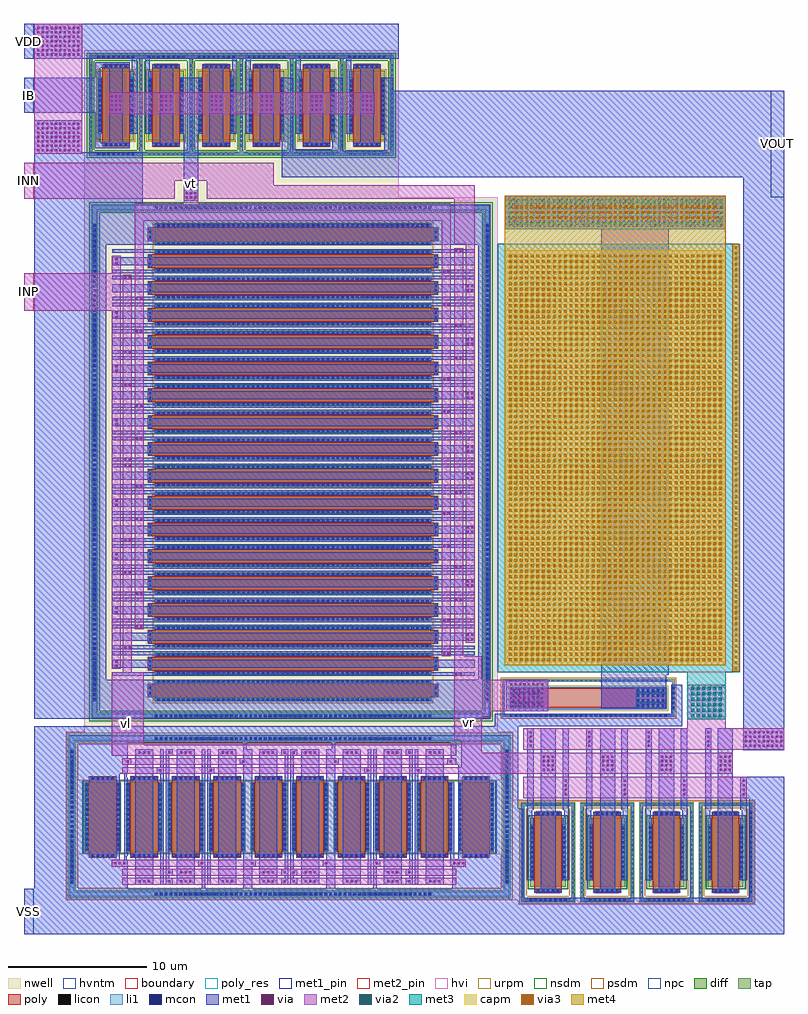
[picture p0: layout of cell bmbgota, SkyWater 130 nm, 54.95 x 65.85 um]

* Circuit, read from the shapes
.subckt bmbgota IB INN INP VDD VOUT VSS vl vr vt
XM1 VSS VSS VSS VSS sky130_fd_pr__nfet_g5v0d10v5 w=5 l=2 m=2
XM2 vr vl VSS VSS sky130_fd_pr__nfet_g5v0d10v5 w=5 l=2 m=4
XM3 VSS vl vl VSS sky130_fd_pr__nfet_g5v0d10v5 w=5 l=2 m=4
XM4 VSS vr VOUT VSS sky130_fd_pr__nfet_g5v0d10v5 w=5 l=2 m=4
XM5 VDD IB IB VDD sky130_fd_pr__pfet_g5v0d10v5 w=5 l=2
XM6 vt IB VDD VDD sky130_fd_pr__pfet_g5v0d10v5 w=5 l=2 m=2
XM7 VDD VDD VDD VDD sky130_fd_pr__pfet_g5v0d10v5 w=20 l=1 m=2
XM8 vt INP vr VDD sky130_fd_pr__pfet_g5v0d10v5 w=20 l=1 m=8
XM9 vt INN vl VDD sky130_fd_pr__pfet_g5v0d10v5 w=20 l=1 m=8
XM10 VOUT IB VDD VDD sky130_fd_pr__pfet_g5v0d10v5 w=5 l=2 m=3
XC11 n1 VOUT sky130_fd_pr__cap_mim_m3_1 w=16 l=30
XR12 n1 vr VSS sky130_fd_pr__res_xhigh_po w=1.41 l=6.88
.ends

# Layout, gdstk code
from math import pi, radians
import gdstk
lib = gdstk.Library(unit=1e-6, precision=1e-09)
def R(c, l, rs):  # rectangles x0, y0, x1, y1
    for r in rs: c.add(gdstk.rectangle(r[:2], r[2:], *l))
def A(c, l, x, y, w, h, nx, ny, dx, dy):  # array of equal rectangles
    R(c, l, [(x+i*dx, y+j*dy, x+i*dx+w, y+j*dy+h) for i in range(nx) for j in range(ny)])
nwell = (64, 20)
diff = (65, 20)
tap = (65, 44)
poly_res = (66, 13)
poly = (66, 20)
licon = (66, 44)
li1 = (67, 20)
mcon = (67, 44)
met1_pin = (68, 16)
met1 = (68, 20)
via = (68, 44)
met2_pin = (69, 16)
met2 = (69, 20)
via2 = (69, 44)
met3 = (70, 20)
via3 = (70, 44)
met4 = (71, 20)
hvi = (75, 20)
urpm = (79, 20)
capm = (89, 44)
nsdm = (93, 44)
psdm = (94, 20)
npc = (95, 20)
hvntm = (125, 20)
boundary = (235, 4)

sky130_fd_pr__nfet_g5v0d = lib.new_cell('sky130_fd_pr__nfet_g5v0d10v5_DP5JSB')
R(sky130_fd_pr__nfet_g5v0d, diff, [(-1.29,-2.5,1.29,2.5)])
R(sky130_fd_pr__nfet_g5v0d, poly, [(-1,-2.94,1,2.94)])
A(sky130_fd_pr__nfet_g5v0d, licon, -0.765, -2.86, 0.17, 0.17, 5, 2, 0.34, 5.55)
A(sky130_fd_pr__nfet_g5v0d, licon, -1.23, -2.295, 0.17, 0.17, 1, 14, 0, 0.34)
A(sky130_fd_pr__nfet_g5v0d, licon, 1.06, -2.295, 0.17, 0.17, 1, 14, 0, 0.34)
R(sky130_fd_pr__nfet_g5v0d, li1, [(-1,-2.86,1,-2.69), (-1.23,-2.52,-1.06,2.52), (1.06,-2.52,1.23,2.52), (-1,2.69,1,2.86)])
A(sky130_fd_pr__nfet_g5v0d, mcon, -0.805, -2.86, 0.17, 0.17, 5, 2, 0.36, 5.55)
A(sky130_fd_pr__nfet_g5v0d, mcon, -1.23, -2.425, 0.17, 0.17, 1, 14, 0, 0.36)
A(sky130_fd_pr__nfet_g5v0d, mcon, 1.06, -2.425, 0.17, 0.17, 1, 14, 0, 0.36)
R(sky130_fd_pr__nfet_g5v0d, met1, [(-0.98,-2.89,0.98,-2.66), (-1.26,-2.5,-1.03,2.5), (1.03,-2.5,1.26,2.5), (-0.98,2.66,0.98,2.89)])
R(sky130_fd_pr__nfet_g5v0d, hvi, [(-1.475,-2.685,1.475,2.685)])
R(sky130_fd_pr__nfet_g5v0d, nsdm, [(-1.415,-2.625,1.415,2.625)])
R(sky130_fd_pr__nfet_g5v0d, npc, [(-0.865,-2.96,0.865,-2.59), (-0.865,2.59,0.865,2.96)])
R(sky130_fd_pr__nfet_g5v0d, hvntm, [(-1.475,-2.685,1.475,2.685)])

sky130_fd_pr__pfet_g5v0d = lib.new_cell('sky130_fd_pr__pfet_g5v0d10v5_WL3UED')
R(sky130_fd_pr__pfet_g5v0d, nwell, [(-0.97,-10.5,0.97,10.5)])
R(sky130_fd_pr__pfet_g5v0d, diff, [(-0.79,-10,0.79,10)])
R(sky130_fd_pr__pfet_g5v0d, poly, [(-0.5,-10.485,0.5,10.485)])
A(sky130_fd_pr__pfet_g5v0d, licon, -0.73, -9.775, 0.17, 0.17, 1, 58, 0, 0.34)
A(sky130_fd_pr__pfet_g5v0d, licon, 0.56, -9.775, 0.17, 0.17, 1, 58, 0, 0.34)
R(sky130_fd_pr__pfet_g5v0d, licon, [(-0.255,-10.405,-0.085,-10.235), (0.085,-10.405,0.255,-10.235), (-0.255,10.235,-0.085,10.405), (0.085,10.235,0.255,10.405)])
R(sky130_fd_pr__pfet_g5v0d, li1, [(-0.5,-10.405,0.5,-10.235), (-0.73,-10.02,-0.56,10.02), (0.56,-10.02,0.73,10.02), (-0.5,10.235,0.5,10.405)])
A(sky130_fd_pr__pfet_g5v0d, mcon, -0.73, -9.805, 0.17, 0.17, 1, 55, 0, 0.36)
A(sky130_fd_pr__pfet_g5v0d, mcon, 0.56, -9.805, 0.17, 0.17, 1, 55, 0, 0.36)
R(sky130_fd_pr__pfet_g5v0d, mcon, [(-0.265,-10.405,-0.095,-10.235), (0.095,-10.405,0.265,-10.235), (-0.265,10.235,-0.095,10.405), (0.095,10.235,0.265,10.405)])
R(sky130_fd_pr__pfet_g5v0d, met1, [(-0.48,-10.435,0.48,-10.205), (-0.76,-10,-0.53,10), (0.53,-10,0.76,10), (-0.48,10.205,0.48,10.435)])
R(sky130_fd_pr__pfet_g5v0d, hvi, [(-0.97,-10.5,0.97,-10.185), (-0.975,-10.185,0.975,10.185), (-0.97,10.185,0.97,10.5)])
R(sky130_fd_pr__pfet_g5v0d, psdm, [(-0.915,-10.125,0.915,10.125)])
R(sky130_fd_pr__pfet_g5v0d, npc, [(-0.355,-10.505,0.355,-10.135), (-0.355,10.135,0.355,10.505)])

c_sky130_fd_pr__pfet_g5v0d = lib.new_cell('sky130_fd_pr__pfet_g5v0d10v5_JNK3YL')
R(c_sky130_fd_pr__pfet_g5v0d, nwell, [(-2.29,-3.985,2.29,3.985)])
R(c_sky130_fd_pr__pfet_g5v0d, diff, [(-1.29,-2.5,1.29,2.5)])
R(c_sky130_fd_pr__pfet_g5v0d, tap, [(-1.96,-3.655,1.96,-3.365), (-1.96,-3.365,-1.67,3.365), (1.67,-3.365,1.96,3.365), (-1.96,3.365,1.96,3.655)])
R(c_sky130_fd_pr__pfet_g5v0d, poly, [(-1,-2.985,1,2.985)])
A(c_sky130_fd_pr__pfet_g5v0d, licon, -1.275, -3.595, 0.17, 0.17, 8, 2, 0.34, 7.02)
A(c_sky130_fd_pr__pfet_g5v0d, licon, -1.9, -2.975, 0.17, 0.17, 1, 18, 0, 0.34)
A(c_sky130_fd_pr__pfet_g5v0d, licon, 1.73, -2.975, 0.17, 0.17, 1, 18, 0, 0.34)
A(c_sky130_fd_pr__pfet_g5v0d, licon, -0.765, -2.905, 0.17, 0.17, 5, 2, 0.34, 5.64)
A(c_sky130_fd_pr__pfet_g5v0d, licon, -1.23, -1.785, 0.17, 0.17, 1, 11, 0, 0.34)
A(c_sky130_fd_pr__pfet_g5v0d, licon, 1.06, -1.785, 0.17, 0.17, 1, 11, 0, 0.34)
R(c_sky130_fd_pr__pfet_g5v0d, li1, [(-1.9,-3.595,1.9,-3.425), (-1.9,-3.425,-1.73,3.425), (1.73,-3.425,1.9,3.425), (-1,-2.905,1,-2.735), (-1.23,-2.03,-1.06,2.03), (1.06,-2.03,1.23,2.03), (-1,2.735,1,2.905), (-1.9,3.425,1.9,3.595)])
A(c_sky130_fd_pr__pfet_g5v0d, mcon, -0.805, -2.905, 0.17, 0.17, 5, 2, 0.36, 5.64)
A(c_sky130_fd_pr__pfet_g5v0d, mcon, -1.23, -1.885, 0.17, 0.17, 1, 11, 0, 0.36)
A(c_sky130_fd_pr__pfet_g5v0d, mcon, 1.06, -1.885, 0.17, 0.17, 1, 11, 0, 0.36)
R(c_sky130_fd_pr__pfet_g5v0d, met1, [(-0.98,-2.935,0.98,-2.705), (-1.26,-2.01,-1.03,2.01), (1.03,-2.01,1.26,2.01), (-0.98,2.705,0.98,2.935)])
R(c_sky130_fd_pr__pfet_g5v0d, hvi, [(-2.29,-3.985,2.29,3.985)])
R(c_sky130_fd_pr__pfet_g5v0d, nsdm, [(-2.085,-3.78,2.085,-3.24), (-2.085,-3.24,-1.545,3.24), (1.545,-3.24,2.085,3.24), (-2.085,3.24,2.085,3.78)])
R(c_sky130_fd_pr__pfet_g5v0d, psdm, [(-1.415,-2.625,1.415,2.625)])
R(c_sky130_fd_pr__pfet_g5v0d, npc, [(-0.865,-3.005,0.865,-2.635), (-0.865,2.635,0.865,3.005)])
R(c_sky130_fd_pr__pfet_g5v0d, boundary, [(-1.815,-3.51,1.815,3.51)])

sky130_fd_pr__cap_mim_m3 = lib.new_cell('sky130_fd_pr__cap_mim_m3_1_5WMUWD')
R(sky130_fd_pr__cap_mim_m3, met3, [(-8.75,-15.5,8.745,15.5)])
A(sky130_fd_pr__cap_mim_m3, via3, 8.385, -15.3, 0.2, 0.2, 1, 77, 0, 0.4)
A(sky130_fd_pr__cap_mim_m3, via3, -7.95, -14.7, 0.2, 0.2, 39, 74, 0.4, 0.4)
R(sky130_fd_pr__cap_mim_m3, met4, [(8.245,-15.44,8.725,15.44), (-8.055,-14.805,7.555,14.805)])
R(sky130_fd_pr__cap_mim_m3, capm, [(-8.25,-15,7.75,15)])
R(sky130_fd_pr__cap_mim_m3, boundary, [(-8.75,-15.5,8.25,15.5)])

c_sky130_fd_pr__nfet_g5v0d = lib.new_cell('sky130_fd_pr__nfet_g5v0d10v5_RQRC42')
R(c_sky130_fd_pr__nfet_g5v0d, diff, [(-1.29,-2.5,1.29,2.5)])
R(c_sky130_fd_pr__nfet_g5v0d, tap, [(-1.96,-3.61,1.96,-3.32), (-1.96,-3.32,-1.67,3.32), (1.67,-3.32,1.96,3.32), (-1.96,3.32,1.96,3.61)])
R(c_sky130_fd_pr__nfet_g5v0d, poly, [(-1,-2.94,1,2.94)])
A(c_sky130_fd_pr__nfet_g5v0d, licon, -1.275, -3.55, 0.17, 0.17, 8, 2, 0.34, 6.93)
A(c_sky130_fd_pr__nfet_g5v0d, licon, -1.9, -2.975, 0.17, 0.17, 1, 18, 0, 0.34)
A(c_sky130_fd_pr__nfet_g5v0d, licon, 1.73, -2.975, 0.17, 0.17, 1, 18, 0, 0.34)
A(c_sky130_fd_pr__nfet_g5v0d, licon, -0.765, -2.86, 0.17, 0.17, 5, 2, 0.34, 5.55)
A(c_sky130_fd_pr__nfet_g5v0d, licon, -1.23, -1.785, 0.17, 0.17, 1, 11, 0, 0.34)
A(c_sky130_fd_pr__nfet_g5v0d, licon, 1.06, -1.785, 0.17, 0.17, 1, 11, 0, 0.34)
R(c_sky130_fd_pr__nfet_g5v0d, li1, [(-1.9,-3.55,1.9,-3.38), (-1.9,-3.38,-1.73,3.38), (1.73,-3.38,1.9,3.38), (-1,-2.86,1,-2.69), (-1.23,-2.03,-1.06,2.03), (1.06,-2.03,1.23,2.03), (-1,2.69,1,2.86), (-1.9,3.38,1.9,3.55)])
A(c_sky130_fd_pr__nfet_g5v0d, mcon, -0.805, -2.86, 0.17, 0.17, 5, 2, 0.36, 5.55)
A(c_sky130_fd_pr__nfet_g5v0d, mcon, -1.23, -1.885, 0.17, 0.17, 1, 11, 0, 0.36)
A(c_sky130_fd_pr__nfet_g5v0d, mcon, 1.06, -1.885, 0.17, 0.17, 1, 11, 0, 0.36)
R(c_sky130_fd_pr__nfet_g5v0d, met1, [(-0.98,-2.89,0.98,-2.66), (-1.26,-2.01,-1.03,2.01), (1.03,-2.01,1.26,2.01), (-0.98,2.66,0.98,2.89)])
R(c_sky130_fd_pr__nfet_g5v0d, hvi, [(-2.145,-3.795,2.145,3.795)])
R(c_sky130_fd_pr__nfet_g5v0d, nsdm, [(-1.415,-2.625,1.415,2.625)])
R(c_sky130_fd_pr__nfet_g5v0d, psdm, [(-2.085,-3.735,2.085,-3.195), (-2.085,-3.195,-1.545,3.195), (1.545,-3.195,2.085,3.195), (-2.085,3.195,2.085,3.735)])
R(c_sky130_fd_pr__nfet_g5v0d, npc, [(-0.865,-2.96,0.865,-2.59), (-0.865,2.59,0.865,2.96)])
R(c_sky130_fd_pr__nfet_g5v0d, hvntm, [(-1.475,-2.685,1.475,2.685)])
R(c_sky130_fd_pr__nfet_g5v0d, boundary, [(-1.81,-3.46,1.81,3.46)])

sky130_fd_pr__res_xhigh_ = lib.new_cell('sky130_fd_pr__res_xhigh_po_1p41_P8QAYG')
R(sky130_fd_pr__res_xhigh_, tap, [(-1.355,-6.23,1.355,-6.06), (-1.355,-6.06,-1.185,6.06), (1.185,-6.06,1.355,6.06), (-1.355,6.06,1.355,6.23)])
R(sky130_fd_pr__res_xhigh_, poly_res, [(-0.705,-3.5,0.705,3.5)])
R(sky130_fd_pr__res_xhigh_, poly, [(-0.705,-5.58,0.705,5.58)])
A(sky130_fd_pr__res_xhigh_, licon, -0.765, -6.23, 0.17, 0.17, 5, 2, 0.34, 12.29)
A(sky130_fd_pr__res_xhigh_, licon, -1.355, -5.695, 0.17, 0.17, 1, 34, 0, 0.34)
A(sky130_fd_pr__res_xhigh_, licon, 1.185, -5.695, 0.17, 0.17, 1, 34, 0, 0.34)
R(sky130_fd_pr__res_xhigh_, licon, [(-0.45,-5.5,-0.26,-3.5), (0.26,-5.5,0.45,-3.5), (-0.45,3.5,-0.26,5.5), (0.26,3.5,0.45,5.5)])
R(sky130_fd_pr__res_xhigh_, li1, [(-1.355,-6.23,1.355,-6.06), (-1.355,-6.06,-1.185,6.06), (1.185,-6.06,1.355,6.06), (-0.705,-5.58,0.705,-3.42), (-0.705,3.42,0.705,5.58), (-1.355,6.06,1.355,6.23)])
A(sky130_fd_pr__res_xhigh_, mcon, -0.625, -5.485, 0.17, 0.17, 4, 6, 0.36, 0.36)
A(sky130_fd_pr__res_xhigh_, mcon, -0.625, 3.51, 0.17, 0.17, 4, 6, 0.36, 0.36)
R(sky130_fd_pr__res_xhigh_, met1, [(-0.655,-5.55,0.655,-3.445), (-0.655,3.445,0.655,5.55)])
R(sky130_fd_pr__res_xhigh_, urpm, [(-0.905,-5.78,0.905,5.78)])
R(sky130_fd_pr__res_xhigh_, psdm, [(-1.48,-6.355,1.48,6.355)])
R(sky130_fd_pr__res_xhigh_, npc, [(-0.8,-5.675,0.8,5.675)])
R(sky130_fd_pr__res_xhigh_, boundary, [(-1.27,-6.145,1.27,6.145)])

bmbgota = lib.new_cell('bmbgota')
R(bmbgota, nwell, [(-4.75,-32.5,25.15,5.75), (-4.75,5.75,18,9.2)])
R(bmbgota, tap, [(-5.9,-44.9,26.1,-44.35), (-5.9,-44.35,-5.35,-33.65), (25.55,-44.35,26.1,-33.65), (-5.9,-33.65,26.1,-33.1), (-4.25,-32,24.65,-31.5), (-4.25,-31.5,-3.75,4.75), (24.15,-31.5,24.65,4.75), (-4.25,4.75,24.65,5.25)])
A(bmbgota, licon, 0.405, -44.71, 0.17, 0.17, 59, 2, 0.34, 11.25)
A(bmbgota, licon, -5.71, -43.895, 0.17, 0.17, 1, 29, 0, 0.34)
A(bmbgota, licon, 25.74, -43.895, 0.17, 0.17, 1, 29, 0, 0.34)
A(bmbgota, licon, 0.405, -31.835, 0.17, 0.17, 59, 2, 0.34, 36.75)
A(bmbgota, licon, -4.085, -30.68, 0.17, 0.17, 1, 102, 0, 0.34)
A(bmbgota, licon, 24.315, -30.68, 0.17, 0.17, 1, 102, 0, 0.34)
A(bmbgota, li1, 27.37, -45.16, 2.84, 0.17, 4, 1, 4.28, 0)
A(bmbgota, li1, -3.88, 15.81, 2.84, 0.17, 6, 1, 3.63, 0)
R(bmbgota, li1, [(-5.8,-44.8,26,-44.45), (43.36,-44.68,43.53,-38.54), (-5.8,-44.45,-5.45,-33.55), (25.65,-44.45,26,-33.55), (-5.8,-33.55,26,-33.2), (-4.15,-31.9,24.55,-31.6), (25.96,-31.82,37.46,-31.65), (-4.15,-31.6,-3.85,4.85), (24.25,-31.6,24.55,4.85), (37.77,-31.34,37.94,-29.59), (-4.15,4.85,24.55,5.15), (-3.88,8.79,-1.04,8.96)])
A(bmbgota, mcon, 27.445, -45.16, 0.17, 0.17, 8, 1, 0.36, 0)
A(bmbgota, mcon, 31.725, -45.16, 0.17, 0.17, 8, 1, 0.36, 0)
A(bmbgota, mcon, 36.005, -45.16, 0.17, 0.17, 8, 1, 0.36, 0)
A(bmbgota, mcon, 40.285, -45.16, 0.17, 0.17, 8, 1, 0.36, 0)
A(bmbgota, mcon, 0.365, -44.71, 0.17, 0.17, 56, 2, 0.36, 11.25)
A(bmbgota, mcon, 43.36, -44.575, 0.17, 0.17, 1, 17, 0, 0.36)
A(bmbgota, mcon, -5.71, -43.815, 0.17, 0.17, 1, 27, 0, 0.36)
A(bmbgota, mcon, 25.74, -43.815, 0.17, 0.17, 1, 27, 0, 0.36)
A(bmbgota, mcon, 0.365, -31.835, 0.17, 0.17, 56, 2, 0.36, 36.75)
A(bmbgota, mcon, 26.045, -31.82, 0.17, 0.17, 32, 1, 0.36, 0)
A(bmbgota, mcon, 37.77, -31.27, 0.17, 0.17, 1, 5, 0, 0.36)
A(bmbgota, mcon, -4.085, -30.61, 0.17, 0.17, 1, 96, 0, 0.36)
A(bmbgota, mcon, 24.315, -30.61, 0.17, 0.17, 1, 96, 0, 0.36)
A(bmbgota, mcon, -3.805, 8.79, 0.17, 0.17, 8, 2, 0.36, 7.02)
A(bmbgota, mcon, -0.175, 15.81, 0.17, 0.17, 8, 1, 0.36, 0)
A(bmbgota, mcon, 3.455, 15.81, 0.17, 0.17, 8, 1, 0.36, 0)
A(bmbgota, mcon, 7.085, 15.81, 0.17, 0.17, 8, 1, 0.36, 0)
A(bmbgota, mcon, 10.715, 15.81, 0.17, 0.17, 8, 1, 0.36, 0)
A(bmbgota, mcon, 14.345, 15.81, 0.17, 0.17, 8, 1, 0.36, 0)
R(bmbgota, met1_pin, [(-9.1,-47.55,-8.4,-44.25), (44.9,5.75,45.85,13.45), (-9.1,11.85,-8.4,14.4), (-9.1,15.75,-8.4,18.3)])
A(bmbgota, met1, 32.55, -44.5, 1.1, 11.85, 3, 1, 4.25, 0)
A(bmbgota, met1, -1.05, -43.95, 1.3, 9.8, 3, 1, 3, 0)
A(bmbgota, met1, -2.735, -28.275, 26.21, 0.585, 1, 4, 0, 3.88)
A(bmbgota, met1, -0.085, -27.69, 20.87, 0.005, 1, 15, 0, 1.94)
A(bmbgota, met1, -2.73, -26.335, 26.205, 0.585, 1, 4, 0, 3.88)
A(bmbgota, met1, -2.73, -12.755, 26.205, 0.585, 1, 4, 0, 3.88)
A(bmbgota, met1, -2.735, -10.815, 26.21, 0.585, 1, 3, 0, 3.88)
R(bmbgota, met1, [(-9.1,-47.55,45.85,-44.9), (-9.1,-44.9,27,-44.25), (43.35,-44.9,45.85,-44.735), (43.325,-44.735,45.85,-38.51), (28.25,-44.5,29.35,-32.65), (-8.35,-44.25,-1.6,-42.15), (3.75,-44.25,4,-42.65), (6.75,-44.25,7.4,-42.65), (12.75,-44.25,13.4,-42.65), (16.15,-44.25,16.4,-42.65), (21.85,-44.25,27,-42.65), (0.75,-43.95,1,-41.55), (1.15,-43.95,1.65,-43.45), (4.15,-43.95,4.4,-41.55), (7.9,-43.95,9.2,-34.15), (9.5,-43.95,10,-43.45), (10.15,-43.95,10.65,-43.45), (10.95,-43.95,12.25,-34.15), (13.95,-43.95,15.25,-34.15), (15.75,-43.95,16,-41.55), (16.9,-43.95,18.2,-34.15), (18.5,-43.95,19,-43.45), (19.15,-43.95,19.4,-41.55), (19.95,-43.95,21.25,-34.15), (27.3,-43.65,27.75,-39.1), (29.85,-43.65,30.3,-39.1), (31.55,-43.65,32,-39.1), (34.1,-43.65,34.55,-39.1), (35.85,-43.65,36.3,-39.1), (38.4,-43.65,38.85,-39.1), (40.15,-43.65,40.6,-39.1), (42.7,-43.65,43.15,-39.1), (1.15,-43.45,1.4,-43.3), (9.75,-43.45,10,-43.3), (10.15,-43.45,10.4,-43.3), (18.75,-43.45,19,-43.3), (1.15,-43.3,1.65,-42.8), (9.5,-43.3,10,-42.8), (10.15,-43.3,10.65,-42.8), (18.5,-43.3,19,-42.8), (1.15,-42.8,1.4,-41.55), (9.75,-42.8,10,-41.55), (10.15,-42.8,10.4,-41.55), (18.75,-42.8,19,-41.55), (3.5,-42.65,4,-42.15), (6.75,-42.65,7.65,-42.15), (12.5,-42.65,13.4,-42.15), (16.15,-42.65,16.65,-42.15), (21.715,-42.65,27,-42.125), (-8.35,-42.15,-2.175,-35.95), (-1.85,-42.15,-1.67,-41.87), (3.75,-42.15,4,-41.55), (6.75,-42.15,7.4,-41.55), (12.75,-42.15,13.4,-41.55), (16.15,-42.15,16.4,-41.55), (21.715,-42.125,22.02,-41.56), (22.3,-42.125,27,-38.45), (-1.85,-41.87,-1.6,-41.55), (21.65,-41.56,22.02,-36.55), (-1.85,-41.55,-1.5,-36.55), (0.65,-41.55,1,-36.55), (1.15,-41.55,1.55,-36.55), (3.65,-41.55,4,-36.55), (4.15,-41.55,4.55,-36.55), (6.65,-41.55,7.55,-36.55), (9.65,-41.55,10,-36.55), (10.15,-41.55,10.5,-36.55), (12.65,-41.55,13.5,-36.55), (15.65,-41.55,16,-36.55), (16.15,-41.55,16.55,-36.55), (18.65,-41.55,19,-36.55), (19.15,-41.55,19.55,-36.55), (27.3,-39.1,27.65,-38.55), (29.95,-39.1,30.3,-38.55), (31.55,-39.1,31.9,-38.55), (34.2,-39.1,34.55,-38.55), (35.85,-39.1,36.2,-38.55), (38.5,-39.1,38.85,-38.55), (40.15,-39.1,40.5,-38.55), (42.8,-39.1,43.15,-38.55), (27.3,-38.55,27.75,-32.65), (29.85,-38.55,30.3,-32.65), (31.55,-38.55,32,-32.65), (34.1,-38.55,34.55,-32.65), (35.85,-38.55,36.3,-32.65), (38.4,-38.55,38.85,-32.65), (40.15,-38.55,40.6,-32.65), (42.7,-38.55,43.15,-37.7), (43.35,-38.51,45.85,-37.7), (22.3,-38.45,26.65,-35.3), (42.7,-37.7,45.85,-36.15), (-1.85,-36.55,-1.6,-36.23), (0.75,-36.55,1,-35.95), (1.15,-36.55,1.4,-34.65), (3.75,-36.55,4,-34.15), (4.15,-36.55,4.4,-35.95), (6.75,-36.55,7.4,-35.3), (9.75,-36.55,10,-34.65), (10.15,-36.55,10.4,-34.65), (12.75,-36.55,13.4,-35.3), (15.75,-36.55,16,-35.95), (16.15,-36.55,16.4,-34.15), (18.75,-36.55,19,-34.65), (19.15,-36.55,19.4,-35.95), (-1.85,-36.23,-1.67,-35.95), (-8.35,-35.95,-1.6,-35.3), (0.5,-35.95,1,-35.45), (4.15,-35.95,4.65,-35.45), (15.5,-35.95,16,-35.45), (19.15,-35.95,19.65,-35.45), (0.75,-35.45,1,-34.15), (4.15,-35.45,4.4,-34.15), (15.75,-35.45,16,-34.15), (19.15,-35.45,19.4,-34.15), (-8.35,-35.3,-1.35,-34.8), (6.5,-35.3,7.4,-34.8), (12.75,-35.3,13.65,-34.8), (21.5,-35.3,26.65,-34.8), (-8.35,-34.8,-1.6,-33.7), (6.75,-34.8,7.4,-34.15), (12.75,-34.8,13.4,-34.15), (21.75,-34.8,26.65,-33.7), (1.15,-34.65,1.65,-34.15), (9.5,-34.65,10,-34.15), (10.15,-34.65,10.65,-34.15), (18.5,-34.65,19,-34.15), (42.9,-34.25,45.85,7.2), (6.75,-34.15,7,-33.7), (13.15,-34.15,13.4,-33.7), (-8.35,-33.7,26.65,-32.5), (24.95,-32.5,38.5,-31.6), (-8.35,-31.95,24.6,-29.15), (37.715,-31.6,38.5,-29.485), (25.75,-31.4,28.8,-29.15), (32.65,-31.2,37.34,-28.77), (-8.35,-29.15,-3.15,2.3), (23.75,-29.15,24.6,2.3), (-2.73,-28.865,23.475,-28.605), (32.65,-28.77,37.5,3.45), (-2.73,-28.605,20.35,-28.6), (0.35,-28.6,20.35,-28.51), (0.35,-27.45,20.35,-27.36), (-2.73,-27.36,20.35,-27.355), (-2.73,-27.355,23.475,-27.095), (-2.73,-26.925,23.475,-26.665), (-2.73,-26.665,20.35,-26.66), (0.35,-26.66,20.35,-26.57), (0.35,-25.51,20.35,-25.42), (-2.73,-25.42,20.35,-25.415), (-2.73,-25.415,23.475,-25.155), (-2.73,-24.985,23.475,-24.725), (-2.73,-24.725,20.35,-24.72), (0.35,-24.72,20.35,-24.63), (0.35,-23.57,20.35,-23.48), (-2.73,-23.48,20.35,-23.475), (-2.73,-23.475,23.475,-23.215), (-2.73,-23.045,23.475,-22.785), (-2.73,-22.785,20.35,-22.78), (0.35,-22.78,20.35,-22.69), (0.35,-21.63,20.35,-21.54), (-2.73,-21.54,20.35,-21.535), (-2.73,-21.535,23.475,-21.275), (-2.73,-21.105,23.475,-20.845), (-2.73,-20.845,20.35,-20.84), (0.35,-20.84,20.35,-20.75), (0.35,-19.69,20.35,-19.6), (-2.73,-19.6,20.35,-19.595), (-2.73,-19.595,23.475,-19.335), (-2.73,-19.165,23.475,-18.905), (-2.73,-18.905,20.35,-18.9), (0.35,-18.9,20.35,-18.81), (0.35,-17.75,20.35,-17.66), (-2.73,-17.66,20.35,-17.655), (-2.73,-17.655,23.475,-17.395), (-2.73,-17.225,23.475,-16.965), (-2.73,-16.965,20.35,-16.96), (0.35,-16.96,20.35,-16.87), (0.35,-15.81,20.35,-15.72), (-2.73,-15.72,20.35,-15.715), (-2.73,-15.715,23.475,-15.455), (-2.73,-15.285,23.475,-15.025), (-2.73,-15.025,20.35,-15.02), (0.35,-15.02,20.35,-14.93), (0.35,-13.87,20.35,-13.78), (-2.73,-13.78,20.35,-13.775), (-2.73,-13.775,23.475,-13.515), (-2.73,-13.345,23.475,-13.085), (-2.73,-13.085,20.35,-13.08), (0.35,-13.08,20.35,-12.99), (0.35,-11.93,20.35,-11.84), (-2.73,-11.84,20.35,-11.835), (-2.73,-11.835,23.475,-11.575), (-2.73,-11.405,23.475,-11.145), (-2.73,-11.145,20.35,-11.14), (0.35,-11.14,20.35,-11.05), (0.35,-9.99,20.35,-9.9), (-2.73,-9.9,20.35,-9.895), (-2.73,-9.895,23.475,-9.635), (-2.73,-9.465,23.475,-9.205), (-2.73,-9.205,20.35,-9.2), (0.35,-9.2,20.35,-9.11), (0.35,-8.05,20.35,-7.96), (-2.73,-7.96,20.35,-7.955), (-2.73,-7.955,23.475,-7.695), (-2.73,-7.525,23.475,-7.265), (-2.73,-7.265,20.35,-7.26), (0.35,-7.26,20.35,-7.17), (0.35,-6.11,20.35,-6.02), (-2.73,-6.02,20.35,-6.015), (-2.73,-6.015,23.475,-5.755), (-2.73,-5.585,23.475,-5.325), (-2.73,-5.325,20.35,-5.32), (0.35,-5.32,20.35,-5.23), (0.35,-4.17,20.35,-4.08), (-2.73,-4.08,20.35,-4.075), (-2.73,-4.075,23.475,-3.815), (-2.73,-3.645,23.475,-3.385), (-2.73,-3.385,20.35,-3.38), (0.35,-3.38,20.35,-3.29), (0.35,-2.23,20.35,-2.14), (-2.73,-2.14,20.35,-2.135), (-2.73,-2.135,23.475,-1.875), (-2.73,-1.705,23.475,-1.445), (-2.73,-1.445,20.35,-1.44), (0.35,-1.44,20.35,-1.35), (0.35,-0.28,20.35,-0.19), (-2.73,-0.19,20.35,-0.185), (-2.73,-0.185,23.475,0.075), (-2.73,0.235,23.475,0.495), (-2.73,0.495,20.35,0.5), (0.35,0.5,20.35,0.59), (-0.085,0.825,20.785,0.83), (-2.735,0.83,23.475,1.415), (0.35,1.645,20.35,1.74), (-2.73,1.74,23.475,2), (-8.35,2.3,24.6,5.2), (25.65,3.45,41.65,5.85), (-8.35,5.2,-0.5,9), (2.45,5.5,3.5,10.35), (9.55,7.2,45.85,9.1), (-8.35,9,-4.9,11.3), (9.55,9.1,13.95,9.2), (16.95,9.1,45.85,10.25), (9.55,9.2,10.35,9.9), (13.2,9.2,13.95,9.9), (-3.95,9.29,-1.45,9.7), (0.7,9.5,1.7,15.25), (4.3,9.5,5.3,15.25), (7.95,9.5,8.95,15.25), (11.55,9.5,12.55,15.25), (15.2,9.5,16.2,15.25), (-3.95,9.7,-3.6,10.35), (-2.95,9.7,-1.95,15.1), (9.45,9.9,10.35,14.4), (13.1,9.9,13.95,14.4), (16.75,10.25,45.85,13.45), (-3.95,10.35,-3.5,11.85), (-1.45,10.35,-0.9,14.9), (-0.35,10.35,0.1,14.9), (2.2,10.35,3.75,14.4), (5.85,10.35,6.3,14.9), (6.95,10.35,7.4,14.9), (10.55,10.35,11,14.9), (14.2,10.35,14.65,14.9), (-9.1,11.85,-3.5,14.4), (16.75,13.45,17.6,14.4), (-3.95,14.4,-3.6,15.1), (-1.3,14.9,-0.9,15.75), (-0.35,14.9,0,15.75), (5.95,14.9,6.3,15.75), (6.95,14.9,7.3,15.75), (10.55,14.9,10.9,15.75), (14.2,14.9,14.55,15.75), (-3.95,15.1,-1.45,15.5), (-9.1,15.75,18,18.3)])
A(bmbgota, via, -0.795, -43.775, 0.15, 0.15, 3, 2, 0.32, 9.3)
A(bmbgota, via, 2.205, -43.775, 0.15, 0.15, 3, 2, 0.32, 0.65)
A(bmbgota, via, 5.205, -43.775, 0.15, 0.15, 3, 2, 0.32, 9.3)
A(bmbgota, via, 8.155, -43.775, 0.15, 0.15, 3, 2, 0.32, 0.65)
A(bmbgota, via, 11.205, -43.775, 0.15, 0.15, 3, 2, 0.32, 0.65)
A(bmbgota, via, 14.205, -43.775, 0.15, 0.15, 3, 2, 0.32, 9.3)
A(bmbgota, via, 17.155, -43.775, 0.15, 0.15, 3, 2, 0.32, 0.65)
A(bmbgota, via, 20.205, -43.775, 0.15, 0.15, 3, 2, 0.32, 9.3)
A(bmbgota, via, -2.57, -42.475, 0.15, 0.15, 3, 1, 0.32, 0)
A(bmbgota, via, 21.94, -42.475, 0.15, 0.15, 3, 1, 0.32, 0)
A(bmbgota, via, 30, -37.48, 0.15, 0.15, 1, 4, 0, 0.32)
A(bmbgota, via, 34.25, -37.48, 0.15, 0.15, 3, 4, 4.3, 0.32)
A(bmbgota, via, 28.405, -35.73, 0.15, 0.15, 3, 4, 0.32, 0.32)
A(bmbgota, via, 32.705, -35.73, 0.15, 0.15, 3, 4, 0.32, 0.32)
A(bmbgota, via, 36.955, -35.73, 0.15, 0.15, 3, 4, 0.32, 0.32)
A(bmbgota, via, 41.205, -35.73, 0.15, 0.15, 3, 4, 0.32, 0.32)
A(bmbgota, via, 2.205, -34.475, 0.15, 0.15, 3, 1, 0.32, 0)
A(bmbgota, via, 8.155, -34.475, 0.15, 0.15, 3, 1, 0.32, 0)
A(bmbgota, via, 11.205, -34.475, 0.15, 0.15, 3, 1, 0.32, 0)
A(bmbgota, via, 17.155, -34.475, 0.15, 0.15, 3, 1, 0.32, 0)
A(bmbgota, via, 27.45, -33.98, 0.15, 0.15, 1, 4, 0, 0.32)
A(bmbgota, via, 31.7, -33.98, 0.15, 0.15, 3, 4, 4.3, 0.32)
A(bmbgota, via, 43.02, -33.98, 0.15, 0.15, 9, 4, 0.32, 0.32)
A(bmbgota, via, 26.055, -31.15, 0.15, 0.15, 8, 6, 0.32, 0.32)
A(bmbgota, via, 25.895, 3.615, 0.15, 0.15, 49, 7, 0.32, 0.32)
A(bmbgota, via, 2.58, 5.655, 0.15, 0.15, 3, 3, 0.32, 0.32)
A(bmbgota, via, -8.14, 9.065, 0.15, 0.15, 10, 7, 0.32, 0.32)
A(bmbgota, via, -2.845, 11.995, 0.15, 0.15, 3, 4, 0.32, 0.32)
A(bmbgota, via, 0.805, 11.995, 0.15, 0.15, 3, 4, 0.32, 0.32)
A(bmbgota, via, 4.405, 11.995, 0.15, 0.15, 3, 4, 0.32, 0.32)
A(bmbgota, via, 8.055, 11.995, 0.15, 0.15, 3, 4, 0.32, 0.32)
A(bmbgota, via, 11.655, 11.995, 0.15, 0.15, 3, 4, 0.32, 0.32)
A(bmbgota, via, 15.305, 11.995, 0.15, 0.15, 3, 4, 0.32, 0.32)
A(bmbgota, via, -8.14, 15.99, 0.15, 0.15, 10, 7, 0.32, 0.32)
R(bmbgota, via, [(1.325,-43.775,1.475,-43.625), (9.675,-43.775,9.825,-43.625), (10.325,-43.775,10.475,-43.625), (18.675,-43.775,18.825,-43.625), (1.325,-43.125,1.475,-42.975), (9.675,-43.125,9.825,-42.975), (10.325,-43.125,10.475,-42.975), (18.675,-43.125,18.825,-42.975), (3.675,-42.475,3.825,-42.325), (7.325,-42.475,7.475,-42.325), (12.675,-42.475,12.825,-42.325), (16.325,-42.475,16.475,-42.325), (0.675,-35.775,0.825,-35.625), (4.325,-35.775,4.475,-35.625), (15.675,-35.775,15.825,-35.625), (19.325,-35.775,19.475,-35.625), (-1.675,-35.125,-1.525,-34.975), (6.675,-35.125,6.825,-34.975), (13.325,-35.125,13.475,-34.975), (21.675,-35.125,21.825,-34.975), (1.325,-34.475,1.475,-34.325), (9.675,-34.475,9.825,-34.325), (10.325,-34.475,10.475,-34.325), (18.675,-34.475,18.825,-34.325), (22.08,-28.81,22.23,-28.66), (22.4,-28.81,22.55,-28.66), (-2.485,-28.22,-2.335,-28.07), (-2.485,-27.9,-2.335,-27.75), (21.2,-27.3,21.35,-27.15), (21.52,-27.3,21.67,-27.15), (-1.855,-26.87,-1.705,-26.72), (-1.535,-26.87,-1.385,-26.72), (22.92,-26.28,23.07,-26.13), (23.24,-26.28,23.39,-26.13), (22.92,-25.96,23.07,-25.81), (23.24,-25.96,23.39,-25.81), (-1.025,-25.365,-0.875,-25.215), (-0.705,-25.365,-0.555,-25.215), (21.2,-24.93,21.35,-24.78), (21.52,-24.93,21.67,-24.78), (-2.485,-24.34,-2.335,-24.19), (-2.485,-24.02,-2.335,-23.87), (22.08,-23.42,22.23,-23.27), (22.4,-23.42,22.55,-23.27), (-1.025,-22.99,-0.875,-22.84), (-0.705,-22.99,-0.555,-22.84), (22.92,-22.4,23.07,-22.25), (23.24,-22.4,23.39,-22.25), (22.92,-22.08,23.07,-21.93), (23.24,-22.08,23.39,-21.93), (-1.855,-21.485,-1.705,-21.335), (-1.535,-21.485,-1.385,-21.335), (22.08,-21.05,22.23,-20.9), (22.4,-21.05,22.55,-20.9), (-2.485,-20.46,-2.335,-20.31), (-2.485,-20.14,-2.335,-19.99), (21.2,-19.54,21.35,-19.39), (21.52,-19.54,21.67,-19.39), (-1.855,-19.11,-1.705,-18.96), (-1.535,-19.11,-1.385,-18.96), (22.92,-18.52,23.07,-18.37), (23.24,-18.52,23.39,-18.37), (22.92,-18.2,23.07,-18.05), (23.24,-18.2,23.39,-18.05), (-1.025,-17.605,-0.875,-17.455), (-0.705,-17.605,-0.555,-17.455), (21.2,-17.17,21.35,-17.02), (21.52,-17.17,21.67,-17.02), (-2.485,-16.58,-2.335,-16.43), (-2.485,-16.26,-2.335,-16.11), (22.08,-15.66,22.23,-15.51), (22.4,-15.66,22.55,-15.51), (-1.025,-15.23,-0.875,-15.08), (-0.705,-15.23,-0.555,-15.08), (22.92,-14.64,23.07,-14.49), (23.24,-14.64,23.39,-14.49), (22.92,-14.32,23.07,-14.17), (23.24,-14.32,23.39,-14.17), (-1.855,-13.725,-1.705,-13.575), (-1.535,-13.725,-1.385,-13.575), (-1.855,-13.29,-1.705,-13.14), (-1.535,-13.29,-1.385,-13.14), (22.92,-12.7,23.07,-12.55), (23.24,-12.7,23.39,-12.55), (22.92,-12.38,23.07,-12.23), (23.24,-12.38,23.39,-12.23), (-1.025,-11.785,-0.875,-11.635), (-0.705,-11.785,-0.555,-11.635), (22.08,-11.35,22.23,-11.2), (22.4,-11.35,22.55,-11.2), (-2.485,-10.76,-2.335,-10.61), (-2.485,-10.44,-2.335,-10.29), (21.2,-9.84,21.35,-9.69), (21.52,-9.84,21.67,-9.69), (-1.025,-9.41,-0.875,-9.26), (-0.705,-9.41,-0.555,-9.26), (22.92,-8.82,23.07,-8.67), (23.24,-8.82,23.39,-8.67), (22.92,-8.5,23.07,-8.35), (23.24,-8.5,23.39,-8.35), (-1.855,-7.905,-1.705,-7.755), (-1.535,-7.905,-1.385,-7.755), (21.2,-7.47,21.35,-7.32), (21.52,-7.47,21.67,-7.32), (-2.485,-6.88,-2.335,-6.73), (-2.485,-6.56,-2.335,-6.41), (22.08,-5.96,22.23,-5.81), (22.4,-5.96,22.55,-5.81), (-1.855,-5.53,-1.705,-5.38), (-1.535,-5.53,-1.385,-5.38), (22.92,-4.94,23.07,-4.79), (23.24,-4.94,23.39,-4.79), (22.92,-4.62,23.07,-4.47), (23.24,-4.62,23.39,-4.47), (-1.025,-4.025,-0.875,-3.875), (-0.705,-4.025,-0.555,-3.875), (22.08,-3.59,22.23,-3.44), (22.4,-3.59,22.55,-3.44), (-2.485,-3,-2.335,-2.85), (-2.485,-2.68,-2.335,-2.53), (21.2,-2.08,21.35,-1.93), (21.52,-2.08,21.67,-1.93), (-1.025,-1.65,-0.875,-1.5), (-0.705,-1.65,-0.555,-1.5), (22.92,-1.06,23.07,-0.91), (23.24,-1.06,23.39,-0.91), (22.92,-0.74,23.07,-0.59), (23.24,-0.74,23.39,-0.59), (-1.855,-0.135,-1.705,0.015), (-1.535,-0.135,-1.385,0.015), (21.2,0.29,21.35,0.44), (21.52,0.29,21.67,0.44), (-2.485,0.885,-2.335,1.035), (-2.485,1.205,-2.335,1.355), (22.08,1.795,22.23,1.945), (22.4,1.795,22.55,1.945)])
R(bmbgota, met2_pin, [(-9.1,-2.45,-8.4,0.25), (-9.1,5.65,-8.4,8.25)])
R(bmbgota, met2, [(-2,-43.95,22.15,-43.45), (-2,-43.3,22.15,-42.8), (-2.75,-42.65,22.85,-42.15), (27,-37.7,43.15,-36.15), (-2,-35.95,42.15,-35.45), (22.5,-35.45,42.15,-34.4), (-2,-35.3,22.15,-34.8), (-2.75,-34.65,22.15,-33.85), (22.5,-34.4,24,-33.5), (27,-34.2,45.85,-32.65), (-2.75,-33.85,-0.45,-28.6), (22,-33.5,24,-31.8), (38.85,-32.65,41.65,-29.5), (22,-31.8,24.7,-31.4), (22,-31.4,28.8,-29.15), (22,-29.15,24,-27.45), (-1.95,-28.6,-1.3,0.15), (-2.75,-28.35,-2.1,-2.45), (21.1,-27.45,21.75,4.05), (22,-27.45,22.65,2.05), (22.85,-26.45,23.5,2.35), (-1.1,-25.5,-0.45,4.05), (-9.1,-2.45,-2.1,0.25), (-2.75,0.25,-2.1,1.5), (22,2.35,23.5,5.65), (25.65,3.45,41.65,5.85), (-1.1,4.05,21.75,5.3), (2.45,5.3,3.5,6.6), (-9.1,5.65,1.8,6.95), (4.1,5.65,23.5,6.6), (4.1,6.6,8.95,6.95), (-9.1,6.95,8.95,8.25), (-8.35,8.9,-4.9,18.3), (-2.95,11.75,16.25,13.35)])
A(bmbgota, via2, 39.15, -31.85, 0.2, 0.2, 6, 6, 0.4, 0.4)
A(bmbgota, via2, 25.95, 3.75, 0.2, 0.2, 39, 5, 0.4, 0.4)
R(bmbgota, met3, [(38.85,-32,41.65,-27.3), (25.65,3.45,41.65,5.85)])
A(bmbgota, via3, 26.35, 4.15, 0.2, 0.2, 37, 3, 0.4, 0.4)
R(bmbgota, met4, [(25.65,-28.1,41.65,5.85)])
A(bmbgota, hvi, -1.935, -41.745, 0.05, 5.37, 9, 1, 3, 0)
R(bmbgota, hvi, [(-6.085,-45.085,26.645,-44.165), (-6.085,-44.165,-5.165,-41.745), (25.365,-44.165,26.645,-41.745), (-6.085,-41.745,-4.885,-36.375), (25.065,-41.745,26.645,-37.815), (25.065,-37.815,26.285,-36.375), (-6.085,-36.375,-5.165,-33.835), (25.365,-36.375,26.285,-33.835), (-6.085,-33.835,26.285,-32.915), (-4.75,-32.915,25.15,5.75), (-4.75,5.75,18,9.2)])
A(bmbgota, nsdm, -1.995, -41.685, 0.17, 5.25, 9, 1, 3, 0)
R(bmbgota, nsdm, [(-4.375,-32.125,24.775,-31.375), (-4.375,-31.375,-3.625,4.625), (24.025,-31.375,24.775,4.625), (-4.375,4.625,24.775,5.375)])
A(bmbgota, psdm, 30.875, -45.345, 0.11, 7.47, 3, 1, 4.28, 0)
A(bmbgota, psdm, 0.225, -29.005, 20.25, 0.11, 1, 17, 0, 1.94)
R(bmbgota, psdm, [(-6.025,-45.025,26.225,-44.225), (-6.025,-44.225,-5.225,-33.775), (25.425,-44.225,26.225,-33.775), (-6.025,-33.775,26.225,-32.975)])
A(bmbgota, hvntm, -1.935, -41.745, 0.05, 5.37, 9, 1, 3, 0)
bmbgota.add(gdstk.Reference(sky130_fd_pr__nfet_g5v0d, (14.59,-39.06)))
bmbgota.add(gdstk.Reference(sky130_fd_pr__nfet_g5v0d, (11.59,-39.06)))
bmbgota.add(gdstk.Reference(sky130_fd_pr__nfet_g5v0d, (8.59,-39.06)))
bmbgota.add(gdstk.Reference(sky130_fd_pr__nfet_g5v0d, (5.59,-39.06)))
bmbgota.add(gdstk.Reference(sky130_fd_pr__nfet_g5v0d, (2.59,-39.06)))
bmbgota.add(gdstk.Reference(sky130_fd_pr__nfet_g5v0d, (-0.41,-39.06)))
bmbgota.add(gdstk.Reference(sky130_fd_pr__nfet_g5v0d, (-3.41,-39.06)))
bmbgota.add(gdstk.Reference(sky130_fd_pr__pfet_g5v0d, (10.35,-29.92), rotation=3*pi/2))
bmbgota.add(gdstk.Reference(sky130_fd_pr__pfet_g5v0d, (10.35,-27.98), rotation=3*pi/2))
bmbgota.add(gdstk.Reference(sky130_fd_pr__pfet_g5v0d, (10.35,-26.04), rotation=3*pi/2))
bmbgota.add(gdstk.Reference(sky130_fd_pr__pfet_g5v0d, (10.35,-24.1), rotation=3*pi/2))
bmbgota.add(gdstk.Reference(sky130_fd_pr__pfet_g5v0d, (10.35,-22.16), rotation=3*pi/2))
bmbgota.add(gdstk.Reference(sky130_fd_pr__pfet_g5v0d, (10.35,-20.22), rotation=3*pi/2))
bmbgota.add(gdstk.Reference(sky130_fd_pr__pfet_g5v0d, (10.35,-18.28), rotation=3*pi/2))
bmbgota.add(gdstk.Reference(sky130_fd_pr__pfet_g5v0d, (10.35,-16.34), rotation=3*pi/2))
bmbgota.add(gdstk.Reference(sky130_fd_pr__pfet_g5v0d, (10.35,-14.4), rotation=3*pi/2))
bmbgota.add(gdstk.Reference(sky130_fd_pr__pfet_g5v0d, (10.35,-12.46), rotation=3*pi/2))
bmbgota.add(gdstk.Reference(sky130_fd_pr__pfet_g5v0d, (10.35,-10.52), rotation=3*pi/2))
bmbgota.add(gdstk.Reference(sky130_fd_pr__pfet_g5v0d, (10.35,-8.58), rotation=3*pi/2))
bmbgota.add(gdstk.Reference(sky130_fd_pr__pfet_g5v0d, (10.35,-6.64), rotation=3*pi/2))
bmbgota.add(gdstk.Reference(sky130_fd_pr__pfet_g5v0d, (10.35,-4.7), rotation=3*pi/2))
bmbgota.add(gdstk.Reference(sky130_fd_pr__pfet_g5v0d, (10.35,3.06), rotation=3*pi/2))
bmbgota.add(gdstk.Reference(sky130_fd_pr__pfet_g5v0d, (10.35,-2.76), rotation=3*pi/2))
bmbgota.add(gdstk.Reference(sky130_fd_pr__pfet_g5v0d, (10.35,-0.82), rotation=3*pi/2))
bmbgota.add(gdstk.Reference(sky130_fd_pr__pfet_g5v0d, (10.35,1.12), rotation=3*pi/2))
bmbgota.add(gdstk.Reference(c_sky130_fd_pr__pfet_g5v0d, (15.69,12.385)))
bmbgota.add(gdstk.Reference(c_sky130_fd_pr__pfet_g5v0d, (12.06,12.385)))
bmbgota.add(gdstk.Reference(c_sky130_fd_pr__pfet_g5v0d, (8.43,12.385)))
bmbgota.add(gdstk.Reference(c_sky130_fd_pr__pfet_g5v0d, (4.8,12.385)))
bmbgota.add(gdstk.Reference(c_sky130_fd_pr__pfet_g5v0d, (1.17,12.385)))
bmbgota.add(gdstk.Reference(c_sky130_fd_pr__pfet_g5v0d, (-2.46,12.385)))
bmbgota.add(gdstk.Reference(sky130_fd_pr__cap_mim_m3, (33.9,-13.1)))
bmbgota.add(gdstk.Reference(sky130_fd_pr__nfet_g5v0d, (17.59,-39.06)))
bmbgota.add(gdstk.Reference(sky130_fd_pr__nfet_g5v0d, (20.59,-39.06)))
bmbgota.add(gdstk.Reference(sky130_fd_pr__nfet_g5v0d, (23.59,-39.06)))
bmbgota.add(gdstk.Reference(c_sky130_fd_pr__nfet_g5v0d, (28.79,-41.61)))
bmbgota.add(gdstk.Reference(c_sky130_fd_pr__nfet_g5v0d, (33.07,-41.61)))
bmbgota.add(gdstk.Reference(c_sky130_fd_pr__nfet_g5v0d, (37.35,-41.61)))
bmbgota.add(gdstk.Reference(sky130_fd_pr__res_xhigh_, (31.71,-30.465), rotation=3*pi/2))
bmbgota.add(gdstk.Reference(c_sky130_fd_pr__nfet_g5v0d, (41.63,-41.61)))
bmbgota.add(gdstk.Label('vt', (2.95,6.75), layer=68, texttype=5))
bmbgota.add(gdstk.Label('vl', (-1.75,-32.3), layer=69, texttype=5))
bmbgota.add(gdstk.Label('vr', (23.05,-32.25), layer=69, texttype=5))
bmbgota.add(gdstk.Label('VDD', (-8.75,17.025), layer=68, texttype=5))
bmbgota.add(gdstk.Label('VSS', (-8.75,-45.9), layer=68, texttype=5))
bmbgota.add(gdstk.Label('VOUT', (45.375,9.6), layer=68, texttype=5))
bmbgota.add(gdstk.Label('IB', (-8.75,13.125), layer=68, texttype=5))
bmbgota.add(gdstk.Label('INN', (-8.75,6.95), layer=69, texttype=5))
bmbgota.add(gdstk.Label('INP', (-8.75,-1.1), layer=69, texttype=5))

lib.write_gds('bmbgota.gds')
